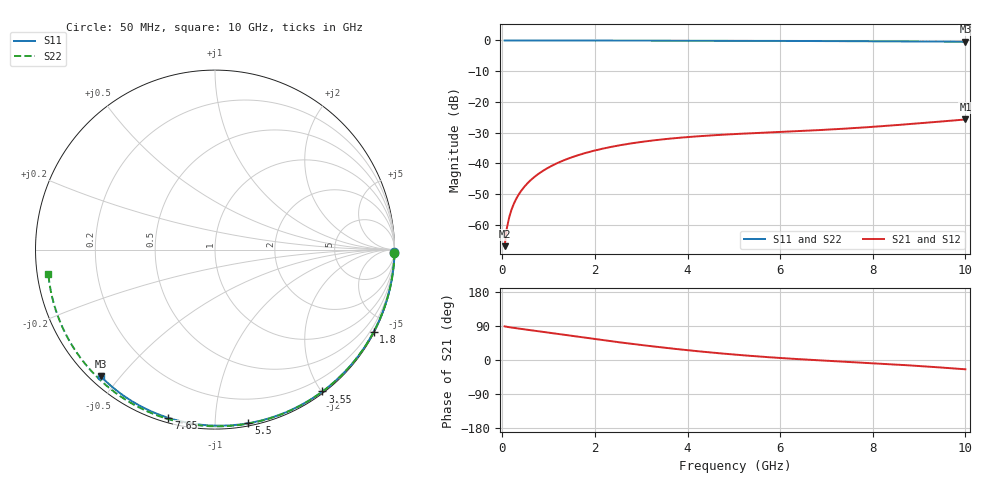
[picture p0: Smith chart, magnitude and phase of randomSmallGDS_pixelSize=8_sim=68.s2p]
! freq	dB(S11)	phase(S11)	dB(S12)	phase(S12)
!  dB(S21)	phase(S21)	dB(S22)	phase(S22)
!S-par simulation data
#  GHz  S  DB  R 50
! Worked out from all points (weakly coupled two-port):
!   200 points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, 50 MHz to 10 GHz, reference 50 ohm
!   highest |S21| = -25.74 dB at 10 GHz (marker M1); lowest = -67.0 dB at 50 MHz (marker M2)
!   lowest |S11| = -0.4 dB at 10 GHz (marker M3), VSWR 39.06, Z = 1.53 - j22.2 ohm
!   |S11| at or under -10 dB: nowhere
!   |S22| runs from -0.6 to 0.0 dB; largest |S21 - S12| = 0
!   S11 on the Smith chart (normalised r, x): 50 MHz: open; 1.8 GHz: 0.04, -4.09; 3.55 GHz: 0.02, -2.01; 5.5 GHz: 0.02, -1.21; 7.65 GHz: 0.02, -0.76; 10 GHz: 0.03, -0.44
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0.05  -0.00 -0.8  -66.99 88.7  -66.99 88.7  -0.00 -1.0
0.1  -0.00 -1.6  -61.00 87.6  -61.00 87.6  -0.00 -2.0
0.15  -0.00 -2.3  -57.52 86.5  -57.52 86.5  -0.00 -3.1
0.2  -0.00 -3.1  -55.06 85.6  -55.06 85.6  -0.00 -4.1
0.35  -0.00 -5.4  -50.28 83.0  -50.28 83.0  -0.01 -7.2
0.5  -0.01 -7.7  -47.23 80.5  -47.23 80.5  -0.01 -10.2
0.7  -0.01 -10.8  -44.36 77.1  -44.36 77.1  -0.02 -14.2
1  -0.02 -15.4  -41.36 72.0  -41.36 72.0  -0.03 -20.3
1.35  -0.03 -20.7  -38.89 66.0  -38.89 66.0  -0.03 -27.2
1.75  -0.03 -26.7  -36.84 59.3  -36.84 59.3  -0.05 -35.1
1.8  -0.04 -27.4  -36.62 58.4  -36.62 58.4  -0.05 -36.1
2.6  -0.05 -39.3  -33.97 45.6  -33.97 45.6  -0.07 -51.4
3.4  -0.07 -50.7  -32.31 33.9  -32.31 33.9  -0.09 -66.1
3.55  -0.07 -52.8  -32.07 31.8  -32.07 31.8  -0.09 -68.8
4.3  -0.09 -63.2  -31.12 22.2  -31.12 22.2  -0.12 -82.0
5.05  -0.11 -73.2  -30.46 13.9  -30.46 13.9  -0.15 -94.7
5.5  -0.13 -79.1  -30.13 9.6  -30.13 9.6  -0.17 -102.0
6.7  -0.18 -94.1  -29.30 0.1  -29.30 0.1  -0.23 -121.0
7.65  -0.24 -105.5  -28.48 -6.2  -28.48 -6.2  -0.30 -135.6
8.35  -0.29 -113.6  -27.74 -10.9  -27.74 -10.9  -0.37 -146.2
9.2  -0.36 -123.2  -26.73 -17.5  -26.73 -17.5  -0.46 -159.2
10  -0.44 -132.1  -25.74 -24.5  -25.74 -24.5  -0.55 -171.8
